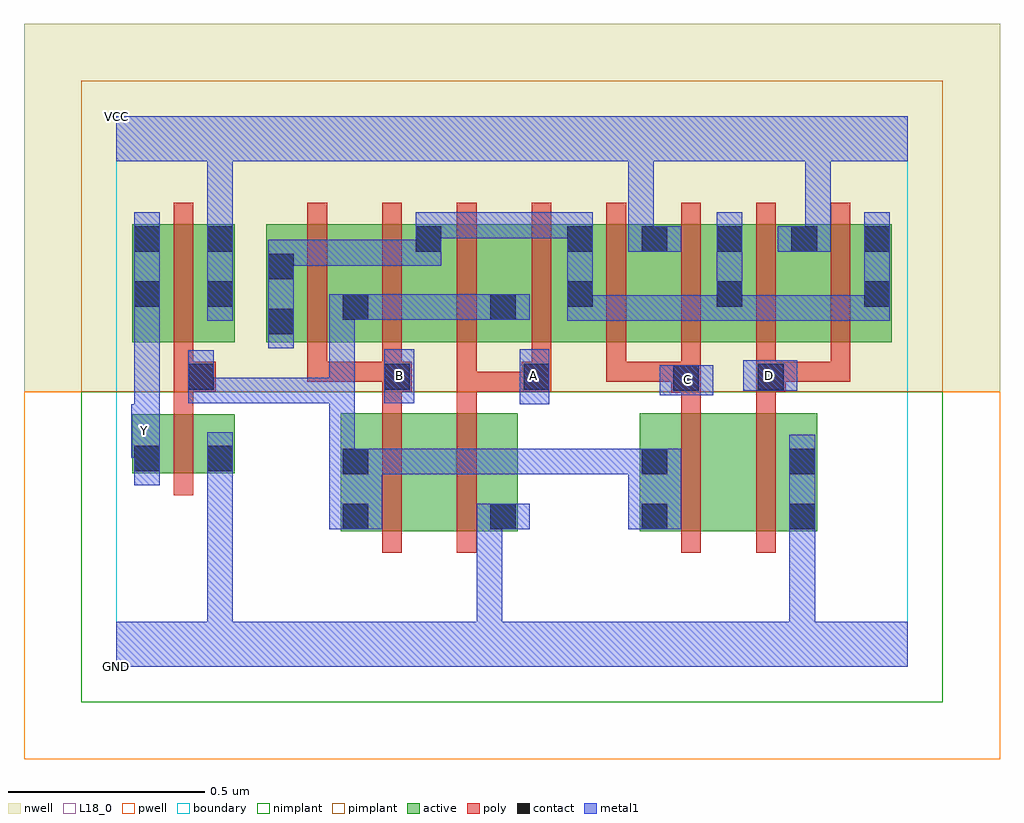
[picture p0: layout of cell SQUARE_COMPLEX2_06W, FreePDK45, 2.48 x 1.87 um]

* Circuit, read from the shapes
.subckt SQUARE_COMPLEX2_06W A B C D GND VCC Y
M1 GND n1 Y VSUBS nfet w=0.15u l=0.05u
M2 n2 B n1 VSUBS nfet w=0.3u l=0.05u
M3 GND A n2 VSUBS nfet w=0.3u l=0.05u
M4 n3 C n1 VSUBS nfet w=0.3u l=0.05u
M5 GND D n3 VSUBS nfet w=0.3u l=0.05u
M6 VCC n1 Y n4 pfet w=0.3u l=0.05u
M7 n1 B n5 n4 pfet w=0.3u l=0.05u m=2
M8 n1 A n5 n4 pfet w=0.3u l=0.05u m=2
M9 VCC C n5 n4 pfet w=0.3u l=0.05u m=2
M10 VCC D n5 n4 pfet w=0.3u l=0.05u m=2
.ends

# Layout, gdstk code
import gdstk
lib = gdstk.Library(unit=1e-6, precision=1e-09)
def R(c, l, rs):  # rectangles x0, y0, x1, y1
    for r in rs: c.add(gdstk.rectangle(r[:2], r[2:], *l))
def A(c, l, x, y, w, h, nx, ny, dx, dy):  # array of equal rectangles
    R(c, l, [(x+i*dx, y+j*dy, x+i*dx+w, y+j*dy+h) for i in range(nx) for j in range(ny)])
active = (1, 0)
pwell = (2, 0)
nwell = (3, 0)
nimplant = (4, 0)
pimplant = (5, 0)
poly = (9, 0)
contact = (10, 0)
metal1 = (11, 0)
L18_0 = (18, 0)
boundary = (235, 0)

square_complex2_06w = lib.new_cell('SQUARE_COMPLEX2_06W')
A(square_complex2_06w, active, 1.14, 0.825, 0.265, 0.3, 3, 1, 0.19, 0)
R(square_complex2_06w, active, [(0.57,0.345,0.645,0.645), (0.57,0.345,0.795,0.645), (0.795,0.345,1.02,0.645), (0.945,0.345,1.02,0.645), (1.33,0.345,1.405,0.645), (1.33,0.345,1.555,0.645), (1.555,0.345,1.78,0.645), (1.705,0.345,1.78,0.645), (0.04,0.492,0.115,0.642), (0.04,0.492,0.3,0.642), (0.225,0.492,0.3,0.642), (0.04,0.825,0.115,1.125), (0.04,0.825,0.3,1.125), (0.225,0.825,0.3,1.125), (0.38,0.825,0.645,1.125), (0.38,0.825,0.455,1.082), (0.57,0.825,0.83,1.125), (0.755,0.825,1.02,1.125), (0.945,0.825,1.215,1.125), (1.71,0.825,1.97,1.125), (1.895,0.825,1.97,1.125), (0.57,0.877,0.645,1.055), (0.945,0.877,1.02,1.055), (1.14,0.91,1.215,1.125), (1.52,0.91,1.595,1.125), (1.71,0.937,1.785,1.125), (1.33,0.95,1.405,1.125), (0.755,0.995,0.83,1.125)])
R(square_complex2_06w, pwell, [(-0.235,-0.235,2.245,0.7)])
R(square_complex2_06w, nwell, [(-0.235,0.7,2.245,1.635)])
R(square_complex2_06w, nimplant, [(-0.09,-0.09,2.1,0.7)])
R(square_complex2_06w, pimplant, [(-0.09,0.7,2.1,1.49)])
A(square_complex2_06w, poly, 1.055, 0.725, 0.05, 0.095, 5, 1, 0.19, 0)
A(square_complex2_06w, poly, 0.485, 0.77, 0.05, 0.41, 8, 1, 0.19, 0)
R(square_complex2_06w, poly, [(0.675,0.29,0.725,0.7), (0.865,0.29,0.915,0.7), (1.435,0.29,1.485,0.7), (1.625,0.29,1.675,0.7), (0.145,0.437,0.195,0.697), (0.145,0.647,0.195,0.75), (0.675,0.65,0.725,0.75), (0.865,0.65,0.915,0.75), (1.435,0.65,1.485,0.747), (1.625,0.65,1.675,0.75), (1.41,0.697,1.485,0.775), (0.145,0.7,0.252,0.775), (0.675,0.7,0.75,0.775), (0.865,0.7,0.915,0.75), (0.865,0.7,1.08,0.75), (0.865,0.7,0.915,0.82), (1.03,0.7,1.08,0.75), (1.03,0.7,1.08,0.75), (1.03,0.7,1.105,0.775), (1.625,0.7,1.7,0.775), (0.145,0.725,0.195,0.82), (0.485,0.725,0.535,0.82), (0.485,0.725,0.535,0.775), (0.485,0.725,0.725,0.775), (0.675,0.725,0.725,0.82), (0.675,0.725,0.725,0.775), (0.675,0.725,0.725,0.775), (1.245,0.725,1.295,0.775), (1.245,0.725,1.46,0.775), (1.41,0.725,1.46,0.775), (1.41,0.725,1.46,0.775), (1.65,0.725,1.865,0.775), (1.815,0.725,1.865,0.775), (1.815,0.725,1.865,0.775), (1.815,0.725,1.865,0.775), (0.145,0.77,0.195,1.18)])
A(square_complex2_06w, contact, 1.145, 1.055, 0.065, 0.065, 4, 1, 0.19, 0)
R(square_complex2_06w, contact, [(0.575,0.35,0.64,0.415), (0.95,0.35,1.015,0.415), (1.335,0.35,1.4,0.415), (1.71,0.35,1.775,0.415), (0.575,0.49,0.64,0.555), (1.335,0.49,1.4,0.555), (1.71,0.49,1.775,0.555), (0.045,0.497,0.11,0.562), (0.23,0.497,0.295,0.562), (1.415,0.702,1.48,0.767), (0.182,0.705,0.247,0.77), (0.68,0.705,0.745,0.77), (1.035,0.705,1.1,0.77), (1.63,0.705,1.695,0.77), (0.385,0.845,0.45,0.91), (0.575,0.882,0.64,0.947), (0.95,0.882,1.015,0.947), (0.045,0.915,0.11,0.98), (0.23,0.915,0.295,0.98), (1.145,0.915,1.21,0.98), (1.525,0.915,1.59,0.98), (1.9,0.915,1.965,0.98), (0.385,0.985,0.45,1.05), (0.045,1.055,0.11,1.12), (0.23,1.055,0.295,1.12), (0.76,1.055,0.825,1.12), (1.9,1.055,1.965,1.12)])
R(square_complex2_06w, metal1, [(0,0,2.01,0.115), (0.23,0.05,0.295,0.115), (0.23,0.05,0.295,0.115), (0.23,0.05,0.295,0.115), (0.23,0.05,0.295,0.115), (0.23,0.05,0.295,0.527), (0.915,0.05,0.98,0.115), (0.915,0.05,0.98,0.115), (0.915,0.05,0.98,0.115), (0.915,0.05,0.98,0.115), (0.915,0.05,0.98,0.415), (1.71,0.05,1.775,0.115), (1.71,0.05,1.775,0.115), (1.71,0.05,1.775,0.38), (1.71,0.315,1.775,0.38), (1.71,0.315,1.775,0.38), (1.71,0.315,1.775,0.59), (0.54,0.35,0.675,0.555), (0.915,0.35,1.05,0.415), (1.3,0.35,1.435,0.555), (0.045,0.462,0.11,0.597), (0.23,0.462,0.295,0.527), (0.23,0.462,0.295,0.527), (0.23,0.462,0.295,0.597), (0.54,0.49,0.605,0.735), (0.61,0.49,0.742,0.555), (0.677,0.49,0.742,0.555), (0.677,0.49,0.825,0.555), (0.76,0.49,0.825,0.555), (0.76,0.49,0.88,0.555), (0.815,0.49,0.88,0.555), (0.815,0.49,1.072,0.555), (1.007,0.49,1.072,0.555), (1.007,0.49,1.072,0.555), (1.007,0.49,1.072,0.555), (1.007,0.49,1.21,0.555), (1.145,0.49,1.21,0.555), (1.145,0.49,1.21,0.555), (1.145,0.49,1.21,0.555), (1.145,0.49,1.365,0.555), (0.037,0.532,0.11,0.667), (0.045,0.532,0.11,0.597), (0.045,0.602,0.11,0.945), (1.025,0.667,1.1,0.807), (0.182,0.67,0.247,0.735), (0.182,0.67,0.247,0.735), (0.182,0.67,0.247,0.805), (0.182,0.67,0.45,0.735), (0.385,0.67,0.45,0.735), (0.385,0.67,0.605,0.735), (0.54,0.67,0.605,0.735), (0.54,0.67,0.605,0.735), (0.54,0.67,0.605,0.735), (0.54,0.67,0.605,0.947), (0.68,0.67,0.757,0.807), (1.38,0.69,1.517,0.767), (1.592,0.702,1.73,0.78), (0.385,0.81,0.45,1.085), (0.045,0.88,0.11,1.155), (0.23,0.88,0.295,1.155), (1.145,0.88,1.21,0.945), (1.145,0.88,1.21,0.945), (1.145,0.88,1.21,0.945), (1.145,0.88,1.21,0.945), (1.145,0.88,1.21,1.155), (1.145,0.88,1.452,0.945), (1.387,0.88,1.452,0.945), (1.387,0.88,1.452,0.945), (1.387,0.88,1.452,0.945), (1.387,0.88,1.59,0.945), (1.525,0.88,1.59,1.155), (1.525,0.88,1.745,0.945), (1.68,0.88,1.745,0.945), (1.68,0.88,1.745,0.945), (1.68,0.88,1.745,0.945), (1.68,0.88,1.965,0.945), (1.9,0.88,1.965,0.945), (1.9,0.88,1.965,0.945), (1.9,0.88,1.965,1.155), (0.54,0.882,0.675,0.947), (0.61,0.882,0.742,0.947), (0.677,0.882,0.742,0.947), (0.677,0.882,0.825,0.947), (0.76,0.882,0.825,0.947), (0.76,0.882,0.88,0.947), (0.815,0.882,0.88,0.947), (0.815,0.882,0.98,0.947), (0.915,0.882,1.05,0.947), (0.385,1.02,0.45,1.085), (0.385,1.02,0.45,1.085), (0.385,1.02,0.587,1.085), (0.522,1.02,0.587,1.085), (0.522,1.02,0.742,1.085), (0.677,1.02,0.742,1.085), (0.677,1.02,0.825,1.085), (0.76,1.02,0.825,1.155), (1.3,1.055,1.365,1.35), (1.3,1.055,1.435,1.12), (1.68,1.055,1.815,1.12), (1.75,1.055,1.815,1.12), (1.75,1.055,1.815,1.12), (1.75,1.055,1.815,1.35), (0.23,1.09,0.295,1.35), (0.76,1.09,0.88,1.155), (0.815,1.09,0.88,1.155), (0.815,1.09,1.072,1.155), (1.007,1.09,1.072,1.155), (1.007,1.09,1.072,1.155), (1.007,1.09,1.072,1.155), (1.007,1.09,1.21,1.155), (0,1.285,2.01,1.4), (0.23,1.285,0.295,1.35), (0.23,1.285,0.295,1.35), (1.3,1.285,1.365,1.35), (1.3,1.285,1.365,1.35)])
R(square_complex2_06w, L18_0, [(0,0,2.01,0.115), (0.23,0.05,0.295,0.115), (0.23,0.05,0.295,0.115), (0.23,0.05,0.295,0.115), (0.23,0.05,0.295,0.115), (0.23,0.05,0.295,0.527), (0.915,0.05,0.98,0.115), (0.915,0.05,0.98,0.115), (0.915,0.05,0.98,0.115), (0.915,0.05,0.98,0.115), (0.915,0.05,0.98,0.415), (1.71,0.05,1.775,0.115), (1.71,0.05,1.775,0.115), (1.71,0.05,1.775,0.38), (1.71,0.315,1.775,0.38), (1.71,0.315,1.775,0.38), (1.71,0.315,1.775,0.59), (0.915,0.35,1.05,0.415), (0.045,0.462,0.11,0.597), (0.23,0.462,0.295,0.597), (0.23,0.462,0.295,0.527), (0.23,0.462,0.295,0.527), (0.037,0.532,0.11,0.667), (0.045,0.532,0.11,0.597), (0.037,0.567,0.102,0.632), (0.045,0.602,0.11,0.945), (1.025,0.667,1.1,0.807), (0.68,0.67,0.757,0.807), (1.38,0.69,1.517,0.767), (1.417,0.697,1.482,0.762), (1.592,0.702,1.73,0.78), (0.687,0.707,0.752,0.772), (1.027,0.707,1.092,0.772), (1.627,0.707,1.692,0.772), (0.045,0.88,0.11,1.155), (0.23,0.88,0.295,1.155), (1.3,1.055,1.435,1.12), (1.3,1.055,1.365,1.35), (1.68,1.055,1.815,1.12), (1.75,1.055,1.815,1.12), (1.75,1.055,1.815,1.12), (1.75,1.055,1.815,1.35), (0.23,1.09,0.295,1.35), (0,1.285,2.01,1.4), (0.23,1.285,0.295,1.35), (0.23,1.285,0.295,1.35), (1.3,1.285,1.365,1.35), (1.3,1.285,1.365,1.35)])
R(square_complex2_06w, boundary, [(0,0,2.01,1.4)])
square_complex2_06w.add(gdstk.Label('A', (1.06,0.74), layer=11, texttype=0))
square_complex2_06w.add(gdstk.Label('B', (0.72,0.74), layer=11, texttype=0))
square_complex2_06w.add(gdstk.Label('C', (1.45,0.73), layer=11, texttype=0))
square_complex2_06w.add(gdstk.Label('D', (1.66,0.74), layer=11, texttype=0))
square_complex2_06w.add(gdstk.Label('Y', (0.07,0.6), layer=11, texttype=0))
square_complex2_06w.add(gdstk.Label('VCC', (0,1.4), layer=11, texttype=0))
square_complex2_06w.add(gdstk.Label('GND', (0,0), layer=11, texttype=0))

lib.write_gds('SQUARE_COMPLEX2_06W.gds')
